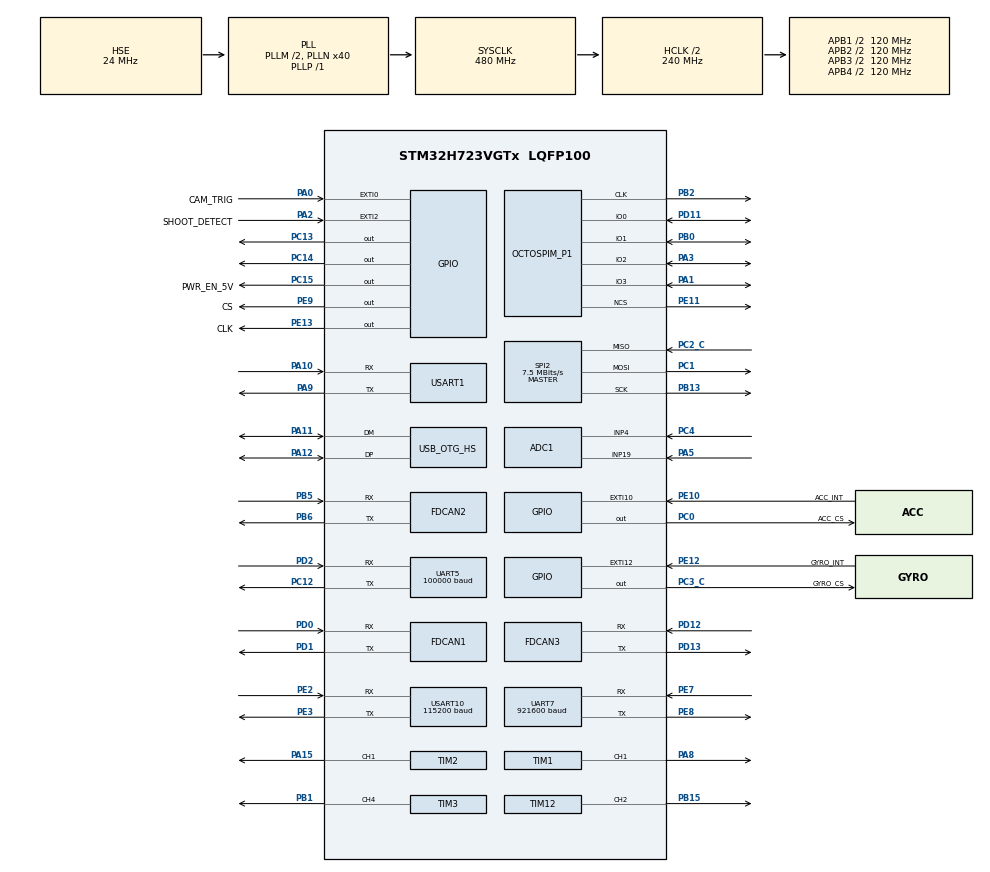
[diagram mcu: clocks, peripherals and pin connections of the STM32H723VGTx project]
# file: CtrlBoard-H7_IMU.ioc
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ADC1.Channel-0\#ChannelRegularConversion=ADC_CHANNEL_4
ADC1.ClockPrescaler=ADC_CLOCK_ASYNC_DIV64
ADC1.ContinuousConvMode=ENABLE
ADC1.ConversionDataManagement=ADC_CONVERSIONDATA_DMA_CIRCULAR
ADC1.NbrOfConversionFlag=1
ADC1.OffsetNumber-0\#ChannelRegularConversion=ADC_OFFSET_NONE
ADC1.OffsetSignedSaturation-0\#ChannelRegularConversion=DISABLE
ADC1.Rank-0\#ChannelRegularConversion=1
ADC1.SamplingTime-0\#ChannelRegularConversion=ADC_SAMPLETIME_1CYCLE_5
ADC1.master=1
ADC3.Channel-0\#ChannelRegularConversion=ADC_CHANNEL_TEMPSENSOR
ADC3.NbrOfConversionFlag=1
ADC3.OffsetNumber-0\#ChannelRegularConversion=ADC_OFFSET_NONE
ADC3.OffsetSign-0\#ChannelRegularConversion=ADC3_OFFSET_SIGN_NEGATIVE
ADC3.Rank-0\#ChannelRegularConversion=1
ADC3.SamplingTime-0\#ChannelRegularConversion=ADC3_SAMPLETIME_640CYCLES_5
Dma.ADC1.4.Direction=DMA_PERIPH_TO_MEMORY
Dma.ADC1.4.EventEnable=DISABLE
Dma.ADC1.4.FIFOMode=DMA_FIFOMODE_DISABLE
Dma.ADC1.4.Instance=DMA1_Stream3
Dma.ADC1.4.MemDataAlignment=DMA_MDATAALIGN_HALFWORD
Dma.ADC1.4.MemInc=DMA_MINC_ENABLE
Dma.ADC1.4.Mode=DMA_CIRCULAR
Dma.ADC1.4.PeriphDataAlignment=DMA_PDATAALIGN_HALFWORD
Dma.ADC1.4.PeriphInc=DMA_PINC_DISABLE
Dma.ADC1.4.Polarity=HAL_DMAMUX_REQ_GEN_RISING
Dma.ADC1.4.Priority=DMA_PRIORITY_LOW
Dma.ADC1.4.RequestNumber=1
Dma.ADC1.4.SignalID=NONE
Dma.ADC1.4.SyncEnable=DISABLE
Dma.ADC1.4.SyncPolarity=HAL_DMAMUX_SYNC_NO_EVENT
Dma.ADC1.4.SyncRequestNumber=1
Dma.ADC1.4.SyncSignalID=NONE
Dma.Request0=SPI2_RX
Dma.Request1=SPI2_TX
Dma.Request2=USART1_RX
Dma.Request3=USART1_TX
Dma.Request4=ADC1
Dma.Request5=UART5_RX
Dma.Request6=UART7_RX
Dma.SPI2_RX.0.Direction=DMA_PERIPH_TO_MEMORY
Dma.SPI2_RX.0.EventEnable=DISABLE
Dma.SPI2_RX.0.FIFOMode=DMA_FIFOMODE_DISABLE
Dma.SPI2_RX.0.Instance=DMA1_Stream0
Dma.SPI2_RX.0.MemDataAlignment=DMA_MDATAALIGN_BYTE
Dma.SPI2_RX.0.MemInc=DMA_MINC_ENABLE
Dma.SPI2_RX.0.Mode=DMA_NORMAL
Dma.SPI2_RX.0.PeriphDataAlignment=DMA_PDATAALIGN_BYTE
Dma.SPI2_RX.0.PeriphInc=DMA_PINC_DISABLE
Dma.SPI2_RX.0.Polarity=HAL_DMAMUX_REQ_GEN_RISING
Dma.SPI2_RX.0.Priority=DMA_PRIORITY_VERY_HIGH
Dma.SPI2_RX.0.RequestNumber=1
Dma.SPI2_RX.0.SignalID=NONE
Dma.SPI2_RX.0.SyncEnable=DISABLE
Dma.SPI2_RX.0.SyncPolarity=HAL_DMAMUX_SYNC_NO_EVENT
Dma.SPI2_RX.0.SyncRequestNumber=1
Dma.SPI2_RX.0.SyncSignalID=NONE
Dma.SPI2_TX.1.Direction=DMA_MEMORY_TO_PERIPH
Dma.SPI2_TX.1.EventEnable=DISABLE
Dma.SPI2_TX.1.FIFOMode=DMA_FIFOMODE_DISABLE
Dma.SPI2_TX.1.Instance=DMA1_Stream1
Dma.SPI2_TX.1.MemDataAlignment=DMA_MDATAALIGN_BYTE
Dma.SPI2_TX.1.MemInc=DMA_MINC_ENABLE
Dma.SPI2_TX.1.Mode=DMA_NORMAL
Dma.SPI2_TX.1.PeriphDataAlignment=DMA_PDATAALIGN_BYTE
Dma.SPI2_TX.1.PeriphInc=DMA_PINC_DISABLE
Dma.SPI2_TX.1.Polarity=HAL_DMAMUX_REQ_GEN_RISING
Dma.SPI2_TX.1.Priority=DMA_PRIORITY_HIGH
Dma.SPI2_TX.1.RequestNumber=1
Dma.SPI2_TX.1.SignalID=NONE
Dma.SPI2_TX.1.SyncEnable=DISABLE
Dma.SPI2_TX.1.SyncPolarity=HAL_DMAMUX_SYNC_NO_EVENT
Dma.SPI2_TX.1.SyncRequestNumber=1
Dma.SPI2_TX.1.SyncSignalID=NONE
Dma.UART5_RX.5.Direction=DMA_PERIPH_TO_MEMORY
Dma.UART5_RX.5.EventEnable=DISABLE
Dma.UART5_RX.5.FIFOMode=DMA_FIFOMODE_DISABLE
Dma.UART5_RX.5.Instance=DMA1_Stream5
Dma.UART5_RX.5.MemDataAlignment=DMA_MDATAALIGN_BYTE
Dma.UART5_RX.5.MemInc=DMA_MINC_ENABLE
Dma.UART5_RX.5.Mode=DMA_NORMAL
Dma.UART5_RX.5.PeriphDataAlignment=DMA_PDATAALIGN_BYTE
Dma.UART5_RX.5.PeriphInc=DMA_PINC_DISABLE
Dma.UART5_RX.5.Polarity=HAL_DMAMUX_REQ_GEN_RISING
Dma.UART5_RX.5.Priority=DMA_PRIORITY_VERY_HIGH
Dma.UART5_RX.5.RequestNumber=1
Dma.UART5_RX.5.SignalID=NONE
Dma.UART5_RX.5.SyncEnable=DISABLE
Dma.UART5_RX.5.SyncPolarity=HAL_DMAMUX_SYNC_NO_EVENT
Dma.UART5_RX.5.SyncRequestNumber=1
Dma.UART5_RX.5.SyncSignalID=NONE
Dma.UART7_RX.6.Direction=DMA_PERIPH_TO_MEMORY
Dma.UART7_RX.6.EventEnable=DISABLE
Dma.UART7_RX.6.FIFOMode=DMA_FIFOMODE_DISABLE
Dma.UART7_RX.6.Instance=DMA1_Stream6
Dma.UART7_RX.6.MemDataAlignment=DMA_MDATAALIGN_BYTE
Dma.UART7_RX.6.MemInc=DMA_MINC_ENABLE
Dma.UART7_RX.6.Mode=DMA_CIRCULAR
Dma.UART7_RX.6.PeriphDataAlignment=DMA_PDATAALIGN_BYTE
Dma.UART7_RX.6.PeriphInc=DMA_PINC_DISABLE
Dma.UART7_RX.6.Polarity=HAL_DMAMUX_REQ_GEN_RISING
Dma.UART7_RX.6.Priority=DMA_PRIORITY_LOW
Dma.UART7_RX.6.RequestNumber=1
Dma.UART7_RX.6.SignalID=NONE
Dma.UART7_RX.6.SyncEnable=DISABLE
Dma.UART7_RX.6.SyncPolarity=HAL_DMAMUX_SYNC_NO_EVENT
Dma.UART7_RX.6.SyncRequestNumber=1
Dma.UART7_RX.6.SyncSignalID=NONE
Dma.USART1_RX.2.Direction=DMA_PERIPH_TO_MEMORY
Dma.USART1_RX.2.EventEnable=DISABLE
Dma.USART1_RX.2.FIFOMode=DMA_FIFOMODE_DISABLE
Dma.USART1_RX.2.Instance=DMA1_Stream2
Dma.USART1_RX.2.MemDataAlignment=DMA_MDATAALIGN_BYTE
Dma.USART1_RX.2.MemInc=DMA_MINC_ENABLE
Dma.USART1_RX.2.Mode=DMA_CIRCULAR
Dma.USART1_RX.2.PeriphDataAlignment=DMA_PDATAALIGN_BYTE
Dma.USART1_RX.2.PeriphInc=DMA_PINC_DISABLE
Dma.USART1_RX.2.Polarity=HAL_DMAMUX_REQ_GEN_RISING
Dma.USART1_RX.2.Priority=DMA_PRIORITY_LOW
Dma.USART1_RX.2.RequestNumber=1
Dma.USART1_RX.2.SignalID=NONE
Dma.USART1_RX.2.SyncEnable=DISABLE
Dma.USART1_RX.2.SyncPolarity=HAL_DMAMUX_SYNC_NO_EVENT
Dma.USART1_RX.2.SyncRequestNumber=1
Dma.USART1_RX.2.SyncSignalID=NONE
Dma.USART1_TX.3.Direction=DMA_MEMORY_TO_PERIPH
Dma.USART1_TX.3.EventEnable=DISABLE
Dma.USART1_TX.3.FIFOMode=DMA_FIFOMODE_DISABLE
Dma.USART1_TX.3.Instance=DMA1_Stream4
Dma.USART1_TX.3.MemDataAlignment=DMA_MDATAALIGN_BYTE
Dma.USART1_TX.3.MemInc=DMA_MINC_ENABLE
Dma.USART1_TX.3.Mode=DMA_NORMAL
Dma.USART1_TX.3.PeriphDataAlignment=DMA_PDATAALIGN_BYTE
Dma.USART1_TX.3.PeriphInc=DMA_PINC_DISABLE
Dma.USART1_TX.3.Polarity=HAL_DMAMUX_REQ_GEN_RISING
Dma.USART1_TX.3.Priority=DMA_PRIORITY_LOW
Dma.USART1_TX.3.RequestNumber=1
Dma.USART1_TX.3.SignalID=NONE
Dma.USART1_TX.3.SyncEnable=DISABLE
Dma.USART1_TX.3.SyncPolarity=HAL_DMAMUX_SYNC_NO_EVENT
Dma.USART1_TX.3.SyncRequestNumber=1
Dma.USART1_TX.3.SyncSignalID=NONE
FDCAN1.CalculateBaudRateNominal=1000000
FDCAN1.CalculateTimeBitNominal=1000
FDCAN1.CalculateTimeQuantumNominal=40.0
FDCAN1.DataPrescaler=3
FDCAN1.DataSyncJumpWidth=10
FDCAN1.DataTimeSeg1=29
FDCAN1.DataTimeSeg2=10
FDCAN1.ExtFiltersNbr=0
FDCAN1.NominalPrescaler=4
FDCAN1.NominalSyncJumpWidth=10
FDCAN1.NominalTimeSeg1=19
FDCAN1.NominalTimeSeg2=5
FDCAN1.ProtocolException=ENABLE
FDCAN1.RxFifo0ElmtSize=FDCAN_DATA_BYTES_8
FDCAN1.RxFifo0ElmtsNbr=8
FDCAN1.RxFifo1ElmtSize=FDCAN_DATA_BYTES_8
FDCAN1.StdFiltersNbr=1
FDCAN1.TxElmtSize=FDCAN_DATA_BYTES_8
FDCAN1.TxFifoQueueElmtsNbr=8
FDCAN2.CalculateBaudRateNominal=1000000
FDCAN2.CalculateTimeBitNominal=1000
FDCAN2.CalculateTimeQuantumNominal=50.0
FDCAN2.DataPrescaler=5
FDCAN2.DataTimeSeg1=14
FDCAN2.DataTimeSeg2=5
FDCAN2.ExtFiltersNbr=0
FDCAN2.MessageRAMOffset=854
FDCAN2.NominalPrescaler=5
FDCAN2.NominalTimeSeg1=14
FDCAN2.NominalTimeSeg2=5
FDCAN2.RxFifo0ElmtsNbr=8
FDCAN2.RxFifo1ElmtSize=FDCAN_DATA_BYTES_8
FDCAN2.RxFifo1ElmtsNbr=8
FDCAN2.StdFiltersNbr=5
FDCAN2.TxElmtSize=FDCAN_DATA_BYTES_16
FDCAN2.TxFifoQueueElmtsNbr=8
FDCAN3.CalculateBaudRateNominal=1000000
FDCAN3.CalculateTimeBitNominal=1000
FDCAN3.CalculateTimeQuantumNominal=50.0
FDCAN3.DataPrescaler=5
FDCAN3.DataTimeSeg1=14
FDCAN3.DataTimeSeg2=5
FDCAN3.ExtFiltersNbr=5
FDCAN3.MessageRAMOffset=1709
FDCAN3.NominalPrescaler=5
FDCAN3.NominalTimeSeg1=14
FDCAN3.NominalTimeSeg2=5
FDCAN3.RxFifo0ElmtsNbr=8
FDCAN3.RxFifo1ElmtsNbr=8
FDCAN3.StdFiltersNbr=5
FDCAN3.TxFifoQueueElmtsNbr=8
FREERTOS.MEMORY_ALLOCATION=0
FREERTOS.Tasks01=defaultTask,0,128,StartDefaultTask,Default,NULL,Dynamic,NULL,NULL
FREERTOS.configENABLE_FPU=1
FREERTOS.configTOTAL_HEAP_SIZE=30720
Mcu.Family=STM32H7
Mcu.Name=STM32H723VGTx
Mcu.Package=LQFP100
NVIC.DMA1_Stream0_IRQn=true\:6\:0\:true\:false\:true\:true\:false\:true\:true
NVIC.DMA1_Stream1_IRQn=true\:6\:0\:true\:false\:true\:true\:false\:true\:true
NVIC.DMA1_Stream2_IRQn=true\:5\:0\:false\:false\:true\:true\:false\:true\:true
NVIC.DMA1_Stream3_IRQn=true\:5\:0\:false\:false\:true\:true\:false\:true\:true
NVIC.DMA1_Stream4_IRQn=true\:5\:0\:false\:false\:true\:true\:false\:true\:true
NVIC.DMA1_Stream5_IRQn=true\:5\:0\:false\:false\:true\:true\:false\:true\:true
NVIC.DMA1_Stream6_IRQn=true\:5\:0\:false\:false\:true\:true\:false\:true\:true
NVIC.EXTI0_IRQn=true\:5\:0\:false\:false\:true\:true\:true\:true\:true
NVIC.EXTI2_IRQn=true\:5\:0\:false\:false\:true\:true\:true\:true\:true
NVIC.FDCAN1_IT0_IRQn=true\:6\:0\:true\:false\:true\:true\:true\:true\:true
NVIC.FDCAN2_IT0_IRQn=true\:5\:0\:true\:false\:true\:true\:true\:true\:true
NVIC.FDCAN3_IT0_IRQn=true\:5\:0\:false\:false\:true\:true\:true\:true\:true
NVIC.OTG_HS_IRQn=true\:5\:0\:false\:false\:true\:true\:true\:true\:true
NVIC.PriorityGroup=NVIC_PRIORITYGROUP_4
NVIC.SPI2_IRQn=true\:5\:0\:true\:false\:true\:true\:false\:true\:true
NVIC.TIM24_IRQn=true\:5\:0\:false\:false\:true\:true\:true\:true\:true
NVIC.TIM6_DAC_IRQn=true\:15\:0\:false\:false\:true\:false\:false\:true\:true
NVIC.TimeBase=TIM6_DAC_IRQn
NVIC.TimeBaseIP=TIM6
NVIC.UART5_IRQn=true\:5\:0\:false\:false\:true\:true\:true\:true\:true
NVIC.UART7_IRQn=true\:5\:0\:false\:false\:true\:true\:true\:true\:true
NVIC.USART10_IRQn=true\:5\:0\:false\:false\:true\:true\:true\:true\:true
NVIC.USART1_IRQn=true\:5\:0\:false\:false\:true\:true\:true\:true\:true
OCTOSPI2.ChipSelectHighTime=1
OCTOSPI2.ClockMode=HAL_OSPI_CLOCK_MODE_3
OCTOSPI2.ClockPrescaler=3
OCTOSPI2.DeviceSize=23
OCTOSPI2.DeviceType=SPI_DEVICE_FLASH
OCTOSPI2.FifoThreshold=8
OCTOSPI2.SampleShifting=HAL_OSPI_SAMPLE_SHIFTING_HALFCYCLE
PA0.GPIO_Label=CAM_TRIG
PA0.Signal=GPXTI0
PA1.Mode=OCTOSPI2_IOL_Port1L
PA1.Signal=OCTOSPIM_P1_IO3
PA10.Mode=Asynchronous
PA10.Signal=USART1_RX
PA11.Mode=Device_Only_FS
PA11.Signal=USB_OTG_HS_DM
PA12.Mode=Device_Only_FS
PA12.Signal=USB_OTG_HS_DP
PA13(JTMS/SWDIO).Mode=Serial_Wire
PA13(JTMS/SWDIO).Signal=DEBUG_JTMS-SWDIO
PA14(JTCK/SWCLK).Mode=Serial_Wire
PA14(JTCK/SWCLK).Signal=DEBUG_JTCK-SWCLK
PA15(JTDI).Signal=S_TIM2_CH1_ETR
PA2.GPIO_Label=SHOOT_DETECT
PA2.GPIO_ModeDefaultEXTI=GPIO_MODE_IT_FALLING
PA2.GPIO_PuPd=GPIO_PULLUP
PA2.Signal=GPXTI2
PA3.Mode=OCTOSPI2_IOL_Port1L
PA3.Signal=OCTOSPIM_P1_IO2
PA5.Signal=ADCx_INP19
PA8.Signal=S_TIM1_CH1
PA9.Mode=Asynchronous
PA9.Signal=USART1_TX
PB0.Mode=OCTOSPI2_IOL_Port1L
PB0.Signal=OCTOSPIM_P1_IO1
PB1.Signal=S_TIM3_CH4
PB13.GPIO_Speed=GPIO_SPEED_FREQ_VERY_HIGH
PB13.Mode=Full_Duplex_Master
PB13.Signal=SPI2_SCK
PB15.Signal=S_TIM12_CH2
PB2.Mode=O2_P1_CLK
PB2.Signal=OCTOSPIM_P1_CLK
PB5.Mode=FDCAN_Activate
PB5.Signal=FDCAN2_RX
PB6.Mode=FDCAN_Activate
PB6.Signal=FDCAN2_TX
PC0.GPIO_Label=ACC_CS
PC0.GPIO_Speed=GPIO_SPEED_FREQ_VERY_HIGH
PC0.PinState=GPIO_PIN_SET
PC0.Signal=GPIO_Output
PC1.GPIO_Speed=GPIO_SPEED_FREQ_VERY_HIGH
PC1.Mode=Full_Duplex_Master
PC1.Signal=SPI2_MOSI
PC12.Mode=Asynchronous
PC12.Signal=UART5_TX
PC13.Signal=GPIO_Output
PC14-OSC32_IN.Signal=GPIO_Output
PC15-OSC32_OUT.GPIO_Label=PWR_EN_5V
PC15-OSC32_OUT.GPIO_ModeDefaultOutputPP=GPIO_MODE_OUTPUT_PP
PC15-OSC32_OUT.GPIO_PuPd=GPIO_PULLUP
PC15-OSC32_OUT.PinState=GPIO_PIN_SET
PC15-OSC32_OUT.Signal=GPIO_Output
PC2_C.GPIO_Speed=GPIO_SPEED_FREQ_VERY_HIGH
PC2_C.Mode=Full_Duplex_Master
PC2_C.Signal=SPI2_MISO
PC3_C.GPIO_Label=GYRO_CS
PC3_C.GPIO_Speed=GPIO_SPEED_FREQ_VERY_HIGH
PC3_C.PinState=GPIO_PIN_SET
PC3_C.Signal=GPIO_Output
PC4.Signal=ADCx_INP4
PD0.Mode=FDCAN_Activate
PD0.Signal=FDCAN1_RX
PD1.Mode=FDCAN_Activate
PD1.Signal=FDCAN1_TX
PD11.Mode=OCTOSPI2_IOL_Port1L
PD11.Signal=OCTOSPIM_P1_IO0
PD12.Mode=FDCAN_Activate
PD12.Signal=FDCAN3_RX
PD13.Mode=FDCAN_Activate
PD13.Signal=FDCAN3_TX
PD2.Mode=Asynchronous
PD2.Signal=UART5_RX
PE10.GPIO_Label=ACC_INT
PE10.Signal=GPXTI10
PE11.Mode=OCTOSPI2_Port1_NCS
PE11.Signal=OCTOSPIM_P1_NCS
PE12.GPIO_Label=GYRO_INT
PE12.Signal=GPXTI12
PE13.GPIO_Label=CLK
PE13.GPIO_PuPd=GPIO_PULLUP
PE13.GPIO_Speed=GPIO_SPEED_FREQ_VERY_HIGH
PE13.PinState=GPIO_PIN_SET
PE13.Signal=GPIO_Output
PE2.GPIO_PuPd=GPIO_PULLUP
PE2.Mode=Asynchronous
PE2.Signal=USART10_RX
PE3.Mode=Asynchronous
PE3.Signal=USART10_TX
PE7.Mode=Asynchronous
PE7.Signal=UART7_RX
PE8.Mode=Asynchronous
PE8.Signal=UART7_TX
PE9.GPIO_Label=CS
PE9.GPIO_PuPd=GPIO_PULLUP
PE9.GPIO_Speed=GPIO_SPEED_FREQ_VERY_HIGH
PE9.PinState=GPIO_PIN_SET
PE9.Signal=GPIO_Output
PH0-OSC_IN.Mode=HSE-External-Oscillator
PH0-OSC_IN.Signal=RCC_OSC_IN
PH1-OSC_OUT.Mode=HSE-External-Oscillator
PH1-OSC_OUT.Signal=RCC_OSC_OUT
ProjectManager.HeapSize=0x200
ProjectManager.StackSize=0x800
ProjectManager.TargetToolchain=MDK-ARM V5.27
RCC.ADCFreq_Value=100000000
RCC.APB1Freq_Value=120000000
RCC.APB2Freq_Value=120000000
RCC.APB3Freq_Value=120000000
RCC.APB4Freq_Value=120000000
RCC.CortexFreq_Value=480000000
RCC.D1PPRE=RCC_APB3_DIV2
RCC.D2PPRE1=RCC_APB1_DIV2
RCC.D2PPRE2=RCC_APB2_DIV2
RCC.D3PPRE=RCC_APB4_DIV2
RCC.DIVM1=2
RCC.DIVM2=24
RCC.DIVN1=40
RCC.DIVN2=200
RCC.DIVP1=1
RCC.FDCANCLockSelection=RCC_FDCANCLKSOURCE_PLL2
RCC.HCLKFreq_Value=240000000
RCC.HPRE=RCC_HCLK_DIV2
RCC.HSE_VALUE=24000000
RCC.PLL2FRACN=0
RCC.PLL3FRACN=0
RCC.PLLFRACN=0
RCC.PLLSourceVirtual=RCC_PLLSOURCE_HSE
RCC.SYSCLKFreq_VALUE=480000000
RCC.SYSCLKSource=RCC_SYSCLKSOURCE_PLLCLK
RCC.USBCLockSelection=RCC_USBCLKSOURCE_HSI48
RCC.USBFreq_Value=48000000
SH.ADCx_INP19.0=ADC1_INP19,IN19-Single-Ended
SH.ADCx_INP4.0=ADC1_INP4,IN4-Single-Ended
SH.S_TIM12_CH2.0=TIM12_CH2,PWM Generation2 CH2
SH.S_TIM1_CH1.0=TIM1_CH1,PWM Generation1 CH1
SH.S_TIM2_CH1_ETR.0=TIM2_CH1,PWM Generation1 CH1
SH.S_TIM3_CH4.0=TIM3_CH4,PWM Generation4 CH4
SPI2.BaudRatePrescaler=SPI_BAUDRATEPRESCALER_32
SPI2.CLKPhase=SPI_PHASE_2EDGE
SPI2.CLKPolarity=SPI_POLARITY_HIGH
SPI2.CalculateBaudRate=7.5 MBits/s
SPI2.DataSize=SPI_DATASIZE_8BIT
SPI2.Direction=SPI_DIRECTION_2LINES
SPI2.Mode=SPI_MODE_MASTER
SPI2.VirtualType=VM_MASTER
TIM1.Channel-PWM\ Generation1\ CH1=TIM_CHANNEL_1
TIM12.Channel-PWM\ Generation2\ CH2=TIM_CHANNEL_2
TIM12.Prescaler=167
TIM2.Channel-PWM\ Generation1\ CH1=TIM_CHANNEL_1
TIM2.Period=19999
TIM2.Prescaler=167
TIM2.Pulse-PWM\ Generation1\ CH1=1000
TIM24.AutoReloadPreload=TIM_AUTORELOAD_PRELOAD_ENABLE
TIM24.Prescaler=239
TIM3.AutoReloadPreload=TIM_AUTORELOAD_PRELOAD_ENABLE
TIM3.Channel-PWM\ Generation4\ CH4=TIM_CHANNEL_4
TIM3.Period=10000-1
TIM3.Prescaler=24-1
UART5.BaudRate=100000
UART5.Parity=PARITY_EVEN
UART5.StopBits=UART_STOPBITS_2
UART5.WordLength=WORDLENGTH_9B
UART7.BaudRate=921600
UART7.Parity=PARITY_NONE
USART1.Parity=PARITY_NONE
USART1.VirtualMode-Asynchronous=VM_ASYNC
USART10.BaudRate=115200
USART10.VirtualMode=VM_ASYNC
USB_DEVICE.CLASS_NAME_HS=CDC
USB_DEVICE.VirtualMode=Cdc
USB_DEVICE.VirtualModeHS=Cdc_HS
USB_OTG_HS.VirtualMode-Device_Only_FS=Device_Only_FS
VP_ADC3_TempSens_Input.Mode=IN-TempSens
VP_CRC_VS_CRC.Mode=CRC_Activate
VP_FREERTOS_VS_CMSIS_V1.Mode=CMSIS_V1
VP_OCTOSPI2_VS_quad.Mode=quad_mode
VP_RNG_VS_RNG.Mode=RNG_Activate
VP_SYS_VS_tim6.Mode=TIM6
VP_TIM1_VS_ClockSourceINT.Mode=Internal
VP_TIM24_VS_ClockSourceINT.Mode=Internal
VP_TIM2_VS_ClockSourceINT.Mode=Internal
VP_USB_DEVICE_VS_USB_DEVICE_CDC_HS.Mode=CDC_HS
board=custom

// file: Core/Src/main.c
/* USER CODE BEGIN Header */
/**
  ******************************************************************************
  * @file           : main.c
  * @brief          : Main program body
  ******************************************************************************
  * @attention
  *
  * Copyright (c) 2024 STMicroelectronics.
  * All rights reserved.
  *
  * This software is licensed under terms that can be found in the LICENSE file
  * in the root directory of this software component.
  * If no LICENSE file comes with this software, it is provided AS-IS.
  *
  ******************************************************************************
  */
/* USER CODE END Header */
#include "main.h"
#include "cmsis_os.h"
#include "adc.h"
#include "crc.h"
#include "dma.h"
#include "fdcan.h"
#include "octospi.h"
#include "rng.h"
#include "spi.h"
#include "tim.h"
#include "usart.h"
#include "usb_device.h"
#include "gpio.h"

/* USER CODE BEGIN Includes */
#include "bsp_dwt.h"
#include "bsp_flash.h"
#include "bsp_tim24.h"
#include "bsp_usart.h"
#include "bsp_vofa+.h"
#include "BMI088driver.h"
#include "BMI088Middleware.h"
#include "calibrate_task.h"
#include "can_bsp.h"
#include "mahony_filter.h"
#include "robot_param.h"
#include "uproto.h"
#include "usbd_cdc_if.h"
#include "usb_cdc_port.h"
#include "usb_device.h"
#include "video_transmission_module.h"

/* legacy stm32_usb_test removed */
/* USER CODE END Includes */

void SystemClock_Config(void);
void PeriphCommonClock_Config(void);
void MX_FREERTOS_Init(void);
/* USER CODE BEGIN PFP */
void proto_init_from_main(void);
void pitch_dm_params_init(void);
/* USER CODE END PFP */

/* USER CODE BEGIN 0 */
uproto_context_t proto_ctx;
uint16_t adc_val[2];

float voltage = 0.0f;

int fputc(int ch, FILE *f)
{
  HAL_UART_Transmit_IT(&huart10, (uint8_t *)&ch, 1);
  return ch;
}

/* USER CODE END 0 */

int main(void)
{

  /* MCU Configuration--------------------------------------------------------*/

  /* Reset of all peripherals, Initializes the Flash interface and the Systick. */
  HAL_Init();

  /* Configure the system clock */
  SystemClock_Config();

/* Configure the peripherals common clocks */
  PeriphCommonClock_Config();

  /* Initialize all configured peripherals */
  MX_GPIO_Init();
  MX_DMA_Init();
  MX_SPI2_Init();
  MX_FDCAN1_Init();
  MX_FDCAN2_Init();
  MX_TIM3_Init();
  MX_FDCAN3_Init();
  MX_USART1_UART_Init();
  MX_UART5_Init();
  MX_USART10_UART_Init();
  MX_CRC_Init();
  MX_RNG_Init();
  MX_ADC1_Init();
  MX_UART7_Init();
  MX_TIM1_Init();
  MX_TIM2_Init();
  MX_TIM12_Init();
  MX_ADC3_Init();
  MX_OCTOSPI2_Init();
  MX_TIM24_Init();
  /* USER CODE BEGIN 2 */
	tim24_timebase_init();
	DWT_Init(480);
	/* CAN feedback decoding must know the DM ranges before FDCAN2 starts. */
	pitch_dm_params_init();
	cali_param_init();

	while (BMI088_init(&hspi2, 0) != BMI088_NO_ERROR)
	{
		;
	}

	Power_OUT1_ON;
	Power_OUT2_ON;

  FDCAN1_Config();
	FDCAN2_Config();

	vtm_data_init();
	HAL_UART_Receive_DMA(&huart7, usart7_buf, 21);
	/* USART10 RX is owned by TFmini; init handled in comm_app to avoid buffer overrun. */

	/* USART1/UART5 接收由 bsp_usart 统一启动（单一所有者，P01/P03） */
	bsp_usart_rx_start();

	HAL_ADCEx_Calibration_Start(&hadc3, ADC_CALIB_OFFSET, ADC_SINGLE_ENDED);
	HAL_ADCEx_Calibration_Start(&hadc1, ADC_CALIB_OFFSET, ADC_SINGLE_ENDED);
	HAL_ADC_Start_DMA(&hadc1, (uint32_t *)adc_val,2);
	HAL_ADC_Start(&hadc3);
	proto_init_from_main();

  /* USER CODE END 2 */

  /* Call init function for freertos objects (in freertos.c) */
  MX_FREERTOS_Init();

  /* Start scheduler */
  osKernelStart();

  /* We should never get here as control is now taken by the scheduler */
  /* Infinite loop */
  while (1)
  {

  }
}

void SystemClock_Config(void)
{
  RCC_OscInitTypeDef RCC_OscInitStruct = {0};
  RCC_ClkInitTypeDef RCC_ClkInitStruct = {0};

  /** Supply configuration update enable
  */
  HAL_PWREx_ConfigSupply(PWR_LDO_SUPPLY);

  /** Configure the main internal regulator output voltage
  */
  __HAL_PWR_VOLTAGESCALING_CONFIG(PWR_REGULATOR_VOLTAGE_SCALE0);

  while(!__HAL_PWR_GET_FLAG(PWR_FLAG_VOSRDY)) {}

  /** Initializes the RCC Oscillators according to the specified parameters
  * in the RCC_OscInitTypeDef structure.
  */
  RCC_OscInitStruct.OscillatorType = RCC_OSCILLATORTYPE_HSI48|RCC_OSCILLATORTYPE_HSE;
  RCC_OscInitStruct.HSEState = RCC_HSE_ON;
  RCC_OscInitStruct.HSI48State = RCC_HSI48_ON;
  RCC_OscInitStruct.PLL.PLLState = RCC_PLL_ON;
  RCC_OscInitStruct.PLL.PLLSource = RCC_PLLSOURCE_HSE;
  RCC_OscInitStruct.PLL.PLLM = 2;
  RCC_OscInitStruct.PLL.PLLN = 40;
  RCC_OscInitStruct.PLL.PLLP = 1;
  RCC_OscInitStruct.PLL.PLLQ = 2;
  RCC_OscInitStruct.PLL.PLLR = 2;
  RCC_OscInitStruct.PLL.PLLRGE = RCC_PLL1VCIRANGE_3;
  RCC_OscInitStruct.PLL.PLLVCOSEL = RCC_PLL1VCOWIDE;
  RCC_OscInitStruct.PLL.PLLFRACN = 0;
  if (HAL_RCC_OscConfig(&RCC_OscInitStruct) != HAL_OK)
  {
    Error_Handler();
  }

  /** Initializes the CPU, AHB and APB buses clocks
  */
  RCC_ClkInitStruct.ClockType = RCC_CLOCKTYPE_HCLK|RCC_CLOCKTYPE_SYSCLK
                              |RCC_CLOCKTYPE_PCLK1|RCC_CLOCKTYPE_PCLK2
                              |RCC_CLOCKTYPE_D3PCLK1|RCC_CLOCKTYPE_D1PCLK1;
  RCC_ClkInitStruct.SYSCLKSource = RCC_SYSCLKSOURCE_PLLCLK;
  RCC_ClkInitStruct.SYSCLKDivider = RCC_SYSCLK_DIV1;
  RCC_ClkInitStruct.AHBCLKDivider = RCC_HCLK_DIV2;
  RCC_ClkInitStruct.APB3CLKDivider = RCC_APB3_DIV2;
  RCC_ClkInitStruct.APB1CLKDivider = RCC_APB1_DIV2;
  RCC_ClkInitStruct.APB2CLKDivider = RCC_APB2_DIV2;
  RCC_ClkInitStruct.APB4CLKDivider = RCC_APB4_DIV2;

  if (HAL_RCC_ClockConfig(&RCC_ClkInitStruct, FLASH_LATENCY_3) != HAL_OK)
  {
    Error_Handler();
  }
}

void PeriphCommonClock_Config(void)
{
  RCC_PeriphCLKInitTypeDef PeriphClkInitStruct = {0};

  /** Initializes the peripherals clock
  */
  PeriphClkInitStruct.PeriphClockSelection = RCC_PERIPHCLK_ADC|RCC_PERIPHCLK_FDCAN;
  PeriphClkInitStruct.PLL2.PLL2M = 24;
  PeriphClkInitStruct.PLL2.PLL2N = 200;
  PeriphClkInitStruct.PLL2.PLL2P = 2;
  PeriphClkInitStruct.PLL2.PLL2Q = 2;
  PeriphClkInitStruct.PLL2.PLL2R = 2;
  PeriphClkInitStruct.PLL2.PLL2RGE = RCC_PLL2VCIRANGE_0;
  PeriphClkInitStruct.PLL2.PLL2VCOSEL = RCC_PLL2VCOMEDIUM;
  PeriphClkInitStruct.PLL2.PLL2FRACN = 0;
  PeriphClkInitStruct.FdcanClockSelection = RCC_FDCANCLKSOURCE_PLL2;
  PeriphClkInitStruct.AdcClockSelection = RCC_ADCCLKSOURCE_PLL2;
  if (HAL_RCCEx_PeriphCLKConfig(&PeriphClkInitStruct) != HAL_OK)
  {
    Error_Handler();
  }
}

/* USER CODE BEGIN 4 */

static uint32_t proto_time_now(void *user) { (void)user; return HAL_GetTick(); }

void proto_init_from_main(void)
{
    uproto_port_ops_t port_ops;
    usb_cdc_port_get_ops(&port_ops);

    uproto_time_ops_t time_ops = {
        .now_ms = proto_time_now,
        .user = NULL
    };

    uproto_config_t cfg;

    cfg.handshake_timeout_ms = 0;
    cfg.heartbeat_interval_ms = 0;
    cfg.default_timeout_ms = 3000;
    cfg.default_retries = 3;
    cfg.enable_auto_handshake = false;
    cfg.event_cb = NULL;
    cfg.event_user = NULL;

    uproto_init(&proto_ctx, &port_ops, &time_ops, &cfg);

    /*
       uproto_register_handler(&proto_ctx, MY_MSG_TYPE, my_handler, my_userptr);
    */
}

/* USER CODE END 4 */

void HAL_TIM_PeriodElapsedCallback(TIM_HandleTypeDef *htim)
{
  if (htim->Instance == TIM6) {
    HAL_IncTick();
  }
  /* USER CODE BEGIN Callback 1 */
  if (htim->Instance == TIM24) {
    tim24_timebase_on_overflow();
  }

  /* USER CODE END Callback 1 */
}

void Error_Handler(void)
{
  __disable_irq();
  while (1)
  {
  }
}

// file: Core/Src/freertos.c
/* USER CODE BEGIN Header */
/**
  ******************************************************************************
  * File Name          : freertos.c
  * Description        : Code for freertos applications
  ******************************************************************************
  * @attention
  *
  * Copyright (c) 2024 STMicroelectronics.
  * All rights reserved.
  *
  * This software is licensed under terms that can be found in the LICENSE file
  * in the root directory of this software component.
  * If no LICENSE file comes with this software, it is provided AS-IS.
  *
  ******************************************************************************
  */
/* USER CODE END Header */

#include "FreeRTOS.h"
#include "task.h"
#include "main.h"
#include "cmsis_os.h"

/* USER CODE BEGIN Includes */
#include "bsp_usart.h"
#include "can_bsp.h"
#include "usart.h"
#include "ins_task.h"
#include "remote_control.h"
#include "calibrate_task.h"
#include "message_task.h"
#include "robot_param.h"
#include "auto_aim.h"
#include "comm_app.h"
/* USER CODE END Includes */

/* USER CODE BEGIN PTD */
osThreadId calibrate_tast_handle;
osThreadId gimbalTaskHandle;
osThreadId imuTaskHandle;
osThreadId message_task_handle;
osThreadId auto_aim_Handle;
osThreadId comm_app_handle;

/* USER CODE END PTD */

osThreadId defaultTaskHandle;

/* USER CODE BEGIN FunctionPrototypes */

extern void MX_USB_DEVICE_Init(void);
void MX_FREERTOS_Init(void); /* (MISRA C 2004 rule 8.1) */

/* GetIdleTaskMemory prototype (linked to static allocation support) */
void vApplicationGetIdleTaskMemory( StaticTask_t **ppxIdleTaskTCBBuffer, StackType_t **ppxIdleTaskStackBuffer, uint32_t *pulIdleTaskStackSize );

/* GetTimerTaskMemory prototype (linked to static allocation support) */
void vApplicationGetTimerTaskMemory( StaticTask_t **ppxTimerTaskTCBBuffer, StackType_t **ppxTimerTaskStackBuffer, uint32_t *pulTimerTaskStackSize );

static StaticTask_t xIdleTaskTCBBuffer;
static StackType_t xIdleStack[configMINIMAL_STACK_SIZE];

void vApplicationGetIdleTaskMemory( StaticTask_t **ppxIdleTaskTCBBuffer, StackType_t **ppxIdleTaskStackBuffer, uint32_t *pulIdleTaskStackSize )
{
  *ppxIdleTaskTCBBuffer = &xIdleTaskTCBBuffer;
  *ppxIdleTaskStackBuffer = &xIdleStack[0];
  *pulIdleTaskStackSize = configMINIMAL_STACK_SIZE;
  /* place for user code */
}
static StaticTask_t xTimerTaskTCBBuffer;
static StackType_t xTimerStack[configTIMER_TASK_STACK_DEPTH];
void vApplicationGetTimerTaskMemory( StaticTask_t **ppxTimerTaskTCBBuffer, StackType_t **ppxTimerTaskStackBuffer, uint32_t *pulTimerTaskStackSize )
{
  *ppxTimerTaskTCBBuffer = &xTimerTaskTCBBuffer;
  *ppxTimerTaskStackBuffer = &xTimerStack[0];
  *pulTimerTaskStackSize = configTIMER_TASK_STACK_DEPTH;
  /* place for user code */
}
/* USER CODE END FunctionPrototypes */

void StartDefaultTask(void const * argument);

extern void MX_USB_DEVICE_Init(void);
void MX_FREERTOS_Init(void); /* (MISRA C 2004 rule 8.1) */

void MX_FREERTOS_Init(void) {

  /* Create the thread(s) */
  /* definition and creation of defaultTask */
  osThreadDef(defaultTask, StartDefaultTask, osPriorityNormal, 0, 128);
  defaultTaskHandle = osThreadCreate(osThread(defaultTask), NULL);

  /* USER CODE BEGIN RTOS_THREADS */
  /* add threads, ... */

    osThreadDef(gimbalTask, gimbal_task, osPriorityHigh, 0, 1024);
    gimbalTaskHandle = osThreadCreate(osThread(gimbalTask), NULL);

		osThreadDef(cali, calibrate_task, osPriorityNormal, 0, 512);
    calibrate_tast_handle = osThreadCreate(osThread(cali), NULL);

		//自瞄进程预留
		osThreadDef(auto_aim, auto_aim_task, osPriorityNormal, 0, 256);
    auto_aim_Handle = osThreadCreate(osThread(auto_aim), NULL);

		 osThreadDef(COMM_APP, comm_app_task, osPriorityBelowNormal, 0, 640);
		comm_app_handle = osThreadCreate(osThread(COMM_APP), NULL);

		osThreadDef(message, message_task, osPriorityNormal, 0, 128);
		message_task_handle = osThreadCreate(osThread(message), NULL);

    osThreadDef(imuTask, INS_task, osPriorityRealtime, 0, 1024);
    imuTaskHandle = osThreadCreate(osThread(imuTask), NULL);

  /* USER CODE END RTOS_THREADS */

}

void StartDefaultTask(void const * argument)
{
  /* init code for USB_DEVICE */
  MX_USB_DEVICE_Init();
  for(;;)
  {
		osDelay(1);
  }
}
